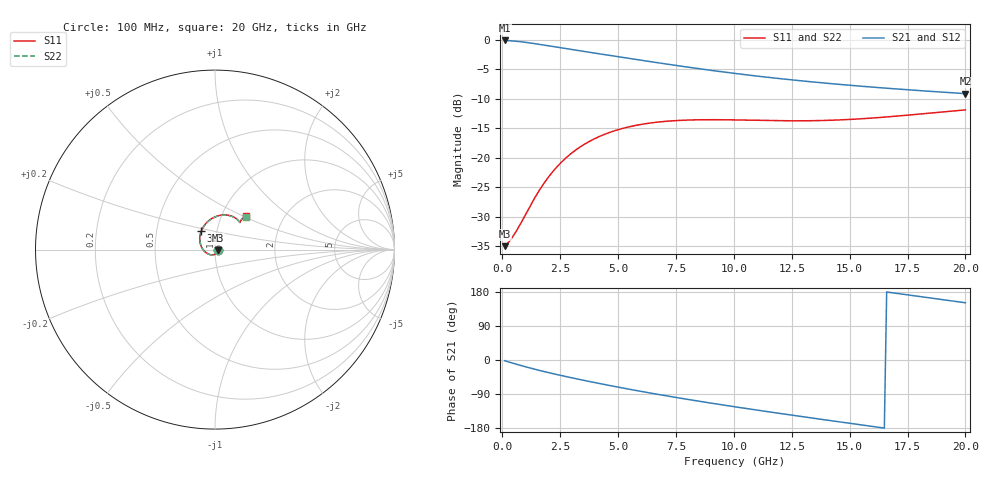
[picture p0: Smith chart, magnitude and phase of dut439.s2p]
! Touchstone file exported from HFSS 2024.1.0
!  File:  C:/UserFiles/LocalFiles/RDL_TSV_Batchsim/temp_RDL_TSV_439_1779722046.aedt
!  Generated:  11:27:42 PM May 25, 2026
!  Design:  RDL_TSV
!  Project:  temp_RDL_TSV_439_1779722046
!  Setup:  Setup1
!  Solution:  Sweep
! Variables:
!  dtsv = 12.84um
!  hbump = 3um
!  htsv = 80.6um
!  ldown = 698.76um
!  lrdl = 179.58um
!  p = 40
!  p1 = 42.75um
!  rhole = 10um
!  subl = 2814.6um
!  t = 450um
!  tdown = 2.4um
!  trdl = 3.6um
!  viad = 10um
!  wdown = 26.29um
!  wrdl = 12.51um
!  xbump = 18um
# GHz S MA R 50.000000
! Terminal data exported
! Port[1] = TM1_1_T1
! Port[2] = TM1_4_T1
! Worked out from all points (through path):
!   200 points, 100 MHz to 20 GHz, reference 50 ohm
!   highest |S21| = -0.16 dB at 100 MHz (marker M1); lowest = -9.2 dB at 20 GHz (marker M2)
!   group delay of S21, straight-line fit = 27.5 ps
!   lowest |S11| = -35.0 dB at 100 MHz (marker M3), VSWR 1.04, Z = 51.8 - j0.376 ohm
!   |S11| at or under -10 dB: start of sweep to end of sweep
!   |S22| runs from -35.0 to -12.0 dB; largest |S21 - S12| = 1.3e-14
!   S11 on the Smith chart (normalised r, x): 100 MHz: 1.04, -0.01; 3.5 GHz: 0.84, +0.18; 20 GHz: 1.30, +0.52
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0.1  0.01783 -11.8  0.9818 -1.9  0.9818 -1.9  0.01783 -11.8
! Gamma 0 0 0 0
! Port Impedance 50 0 50 0
0.3  0.01957 -37.0  0.9774 -5.6  0.9774 -5.6  0.01958 -37.1
0.6  0.02381 -74.8  0.9666 -11.0  0.9666 -11.0  0.02383 -74.8
1.1  0.03579 -125.6  0.9411 -19.5  0.9411 -19.5  0.0358 -125.5
1.7  0.05682 -167.1  0.9038 -28.9  0.9038 -28.9  0.05675 -166.9
2.1  0.0729 172.9  0.878 -34.8  0.878 -34.8  0.07276 173.0
2.5  0.08939 156.7  0.8528 -40.4  0.8528 -40.4  0.08918 156.8
3  0.1095 140.2  0.8227 -47.0  0.8227 -47.0  0.1092 140.3
3.5  0.1283 126.6  0.794 -53.4  0.794 -53.4  0.1279 126.7
4.2  0.1513 111.1  0.7561 -62.1  0.7561 -62.1  0.1508 111.1
5  0.1725 96.9  0.7153 -71.6  0.7153 -71.6  0.1719 96.9
5.8  0.1882 85.4  0.6768 -80.7  0.6768 -80.7  0.1875 85.4
6.8  0.2009 74.0  0.6322 -91.6  0.6322 -91.6  0.2001 73.9
7.6  0.2065 66.7  0.5995 -99.9  0.5995 -99.9  0.2058 66.7
8.4  0.2091 60.9  0.5695 -107.8  0.5695 -107.8  0.2084 60.9
10.1  0.2086 52.6  0.5148 -124.0  0.5148 -124.0  0.2078 52.5
11.7  0.2058 48.7  0.4732 -138.5  0.4732 -138.5  0.205 48.6
13.4  0.2056 47.6  0.4375 -153.3  0.4375 -153.3  0.2048 47.4
15  0.2106 48.0  0.4101 -167.0  0.4101 -167.0  0.2098 47.8
16.7  0.222 48.5  0.3857 178.6  0.3857 178.6  0.221 48.3
18.3  0.2366 48.3  0.3663 165.2  0.3663 165.2  0.2355 48.0
20  0.2537 47.0  0.3484 151.1  0.3484 151.1  0.2524 46.7
